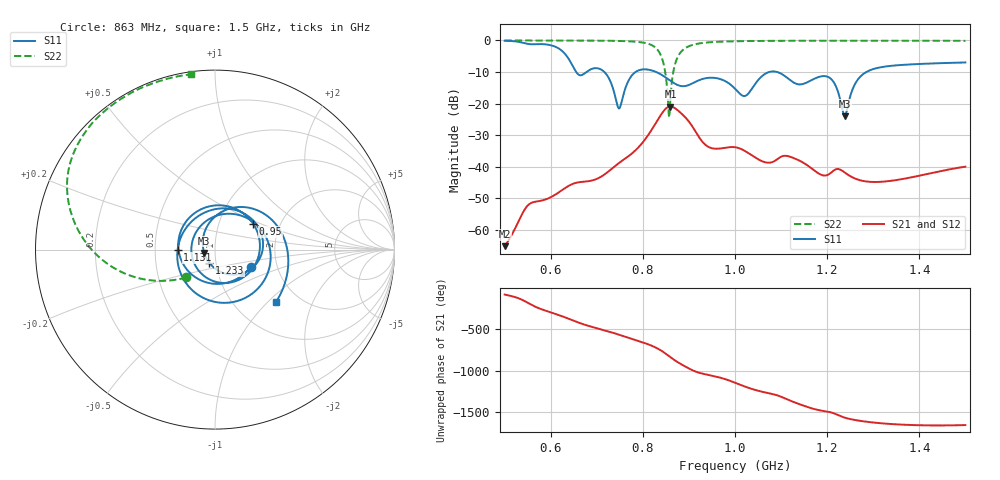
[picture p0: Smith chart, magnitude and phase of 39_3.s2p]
! TOUCHSTONE file generated by CST MICROWAVE STUDIO
! Date and time: Fri Dec 11 14:18:09 2020
! Project name: Scenario_1_Planar_Body_Tissue_Out_of_Line_v2.cst
! Parameters = {dy1=311.4; L_HA=400; Ltissue=700; MT=2.54; Rad_Dielectric=30; Rad_Lower=7.3; Rad_Upper=30; Wtissue=700; a_HA=580; a_WG=246; b_HA=500; b_WG=121; c_HA=0; c_WG=187; d_feed=85; dx1=520; h_feed=15; h_lower=18; h_upper=40; hfat=3; hgap=25; hmuscle=50; hskin=1.5}
! Header version: 2018
! Port assignment regex: !\s*Touchstone port\s*([0-9]+)\s*=\s*(CST MWS port|CST DS port)\s*([0-9]+|Zmin|Zmax)\s*\(\"(.*)\"\)(\s*mode\s*([0-9]+))?.*
! Touchstone port assignment:
! Touchstone port 1 = CST MWS port 1 ("")
! Touchstone port 2 = CST MWS port 2 ("")
# GHz S DB R 50
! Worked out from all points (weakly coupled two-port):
!   1003 points, 500 MHz to 1.5 GHz, reference 50 ohm
!   highest |S21| = -20.92 dB at 860 MHz (marker M1); lowest = -65.1 dB at 500 MHz (marker M2)
!   lowest |S11| = -24.1 dB at 1.238 GHz (marker M3), VSWR 1.13, Z = 44.3 - j1.65 ohm
!   |S11| at or under -10 dB: 716.5 MHz to 784.1 MHz (67.57 MHz wide, 9.01 % of centre); 829 MHz to 1.074 GHz (245 MHz wide, 25.7 % of centre); 1.092 GHz to 1.285 GHz (193.4 MHz wide, 16.3 % of centre) (the widest 3 of 4)
!   |S22| runs from -24.4 to 0.0 dB; largest |S21 - S12| = 4.4e-06
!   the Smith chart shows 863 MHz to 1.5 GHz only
!   S11 on the Smith chart (normalised r, x): 863 MHz: 1.46, -0.30; 950 MHz: 1.46, +0.45; 1.131 GHz: 0.65, -0.00; 1.233 GHz: 0.93, -0.14; 1.5 GHz: 1.53, -1.12
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0.5  -0.10 -122.0  -65.14 -84.2  -65.14 -84.2  -0.01 151.2
0.597  -1.42 -174.3  -49.86 66.9  -49.86 66.9  -0.02 144.4
0.667  -10.99 156.8  -44.79 -74.1  -44.79 -74.1  -0.04 138.4
0.714  -9.67 116.4  -42.72 -148.9  -42.72 -148.9  -0.08 133.1
0.748  -21.55 -27.4  -38.83 153.8  -38.83 153.8  -0.16 127.8
0.788  -9.66 161.7  -34.22 82.9  -34.22 82.9  -0.45 117.6
0.834  -10.35 56.4  -24.75 -18.5  -24.75 -18.5  -3.36 82.6
0.86  -12.79 -16.1  -20.92 -116.9  -20.92 -116.9  -18.06 -116.3
0.863  -13.09 -25.6  -20.98 -129.1  -20.98 -129.1  -13.07 -135.8
0.906  -13.70 172.7  -26.91 91.2  -26.91 91.2  -1.51 164.2
0.95  -11.80 34.1  -34.13 22.3  -34.13 22.3  -0.52 148.8
1  -15.28 -96.8  -33.81 -63.1  -33.81 -63.1  -0.27 140.2
1.044  -13.73 74.8  -37.10 -150.0  -37.10 -150.0  -0.17 135.0
1.074  -10.00 -12.8  -38.72 169.6  -38.72 169.6  -0.14 132.0
1.131  -13.62 -179.5  -37.47 57.3  -37.47 57.3  -0.11 127.1
1.167  -12.50 75.6  -40.60 -11.4  -40.60 -11.4  -0.10 124.2
1.208  -12.13 -16.1  -41.92 -59.1  -41.92 -59.1  -0.09 121.0
1.233  -21.89 -112.6  -41.29 -113.1  -41.29 -113.1  -0.09 119.1
1.238  -24.05 -162.8  -41.80 -122.3  -41.80 -122.3  -0.08 118.8
1.271  -11.61 63.8  -44.25 -160.6  -44.25 -160.6  -0.08 116.2
1.334  -8.12 7.3  -44.53 162.6  -44.53 162.6  -0.09 111.4
1.5  -6.97 -41.0  -39.96 148.3  -39.96 148.3  -0.13 97.9
